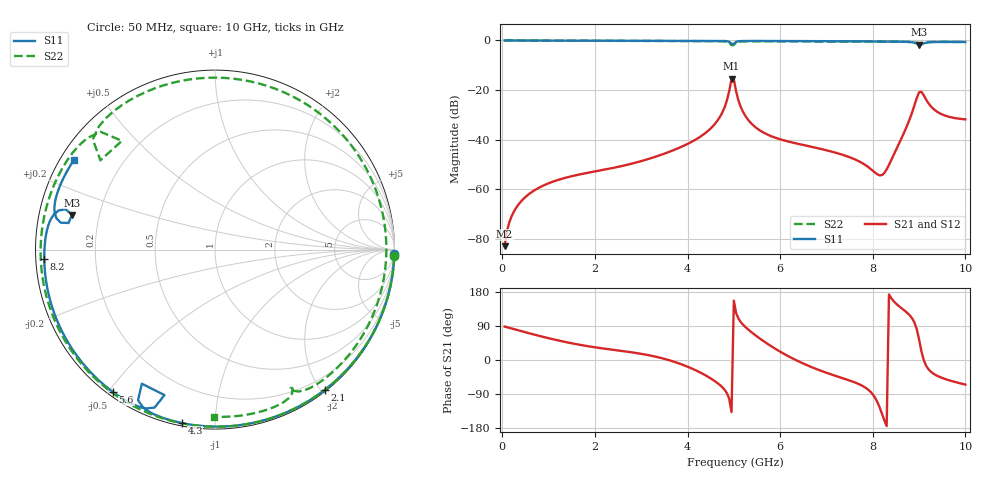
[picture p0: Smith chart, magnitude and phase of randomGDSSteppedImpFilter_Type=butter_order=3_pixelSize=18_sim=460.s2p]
! freq	dB(S11)	phase(S11)	dB(S12)	phase(S12)
!  dB(S21)	phase(S21)	dB(S22)	phase(S22)
!S-par simulation data
#  GHz  S  DB  R 50
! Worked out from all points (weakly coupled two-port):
!   200 points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, 50 MHz to 10 GHz, reference 50 ohm
!   highest |S21| = -15.44 dB at 4.95 GHz (marker M1); lowest = -82.9 dB at 50 MHz (marker M2)
!   lowest |S11| = -1.7 dB at 9 GHz (marker M3), VSWR 10.11, Z = 5.02 + j5.93 ohm
!   |S11| at or under -10 dB: nowhere
!   |S22| runs from -2.0 to 0.0 dB; largest |S21 - S12| = 0
!   S11 on the Smith chart (normalised r, x): 50 MHz: 0, -89; 2.1 GHz: 0.02, -2.06; 4.3 GHz: 0.01, -0.83; 5.6 GHz: 0.02, -0.51; 8.2 GHz: 0.02, -0.03; 10 GHz: 0.04, +0.29
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0.05  -0.00 -1.3  -82.90 88.3  -82.90 88.3  -0.01 -2.2
0.25  -0.01 -6.3  -68.97 81.5  -68.97 81.5  -0.01 -10.6
0.55  -0.02 -13.9  -62.29 71.5  -62.29 71.5  -0.03 -23.3
1.75  -0.06 -43.5  -53.68 38.4  -53.68 38.4  -0.09 -73.7
2.1  -0.07 -51.8  -52.43 31.7  -52.43 31.7  -0.11 -88.4
2.75  -0.09 -66.8  -49.86 21.0  -49.86 21.0  -0.15 -116.1
3.4  -0.11 -81.4  -46.27 6.2  -46.27 6.2  -0.19 -145.1
4.3  -0.14 -100.8  -38.48 -34.6  -38.48 -34.6  -0.27 171.2
4.75  -0.20 -111.3  -29.06 -71.7  -29.06 -71.7  -0.36 146.0
4.95  -1.40 -118.6  -15.44 -137.4  -15.44 -137.4  -1.97 130.5
5  -1.33 -109.2  -15.71 156.6  -15.71 156.6  -1.84 142.1
5.05  -0.52 -110.9  -20.60 123.6  -20.60 123.6  -0.76 138.0
5.25  -0.22 -117.9  -30.45 87.0  -30.45 87.0  -0.38 122.7
5.6  -0.21 -125.6  -36.69 53.3  -36.69 53.3  -0.37 101.5
6.1  -0.24 -135.6  -40.36 15.1  -40.36 15.1  -0.38 72.0
6.7  -0.28 -147.3  -42.95 -19.8  -42.95 -19.8  -0.39 38.1
7.4  -0.34 -160.8  -46.39 -50.0  -46.39 -50.0  -0.40 2.2
8.2  -0.42 -176.8  -54.24 -142.1  -54.24 -142.1  -0.44 -32.7
8.35  -0.44 -180.0  -50.15 173.0  -50.15 173.0  -0.45 -38.6
9  -1.72 166.3  -20.91 54.4  -20.91 54.4  -1.13 -61.3
9.4  -0.61 161.5  -28.85 -42.3  -28.85 -42.3  -0.56 -72.4
10  -0.62 147.5  -31.78 -64.9  -31.78 -64.9  -0.62 -90.2
